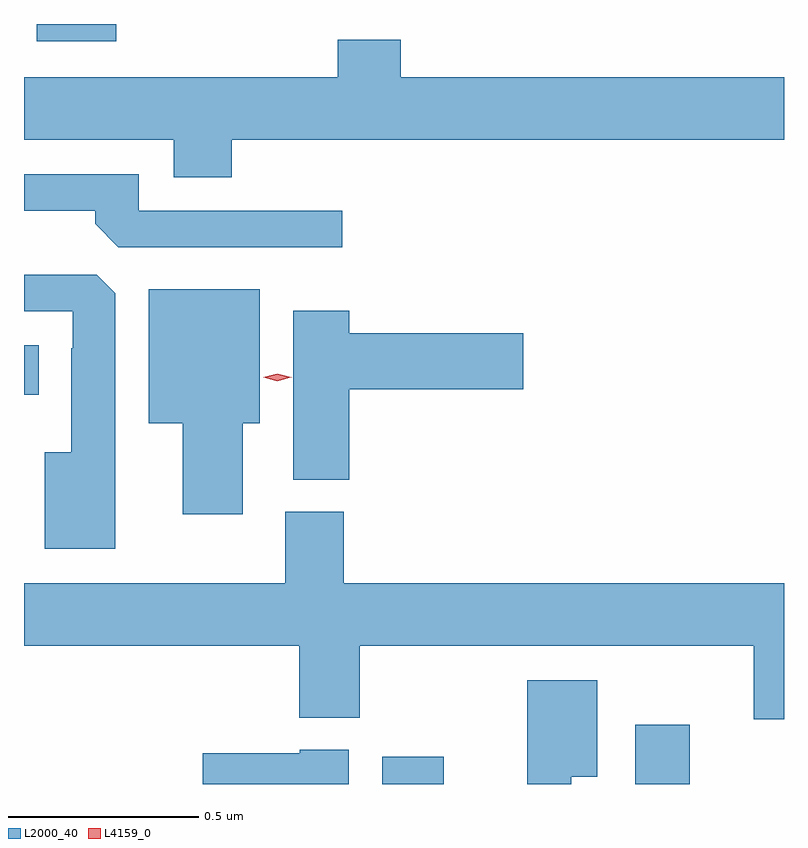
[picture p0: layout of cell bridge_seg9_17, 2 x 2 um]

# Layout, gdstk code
import gdstk
lib = gdstk.Library(unit=1e-6, precision=1e-09)
def R(c, l, rs):  # rectangles x0, y0, x1, y1
    for r in rs: c.add(gdstk.rectangle(r[:2], r[2:], *l))
def P(c, l, *ps):  # polygons
    for p in ps: c.add(gdstk.Polygon(p, *l))
L2000_40 = (2000, 40)
L4159_0 = (4159, 0)

bridge_seg9_17 = lib.new_cell('bridge_seg9_17')
R(bridge_seg9_17, L2000_40, [(929.264,1238.68,929.425,1238.752), (929.93,1238.68,930.073,1238.836), (928.321,1239.704,928.36,1239.835), (928.354,1240.635,928.564,1240.68)])
P(bridge_seg9_17, L2000_40, [(928.868,1240.376),(930.321,1240.376),(930.321,1240.54),(929.312,1240.54),(929.312,1240.639),(929.147,1240.639),(929.147,1240.54),(928.321,1240.54),(928.321,1240.376),(928.715,1240.376),(928.715,1240.277),(928.868,1240.277)],
  [(929.158,1240.188),(928.623,1240.188),(928.623,1240.284),(928.321,1240.284),(928.321,1240.188),(928.508,1240.188),(928.508,1240.154),(928.569,1240.092),(929.158,1240.092)],
  [(928.561,1239.971),(928.512,1240.02),(928.321,1240.02),(928.321,1239.924),(928.449,1239.924),(928.449,1239.827),(928.445,1239.827),(928.445,1239.553),(928.376,1239.553),(928.376,1239.299),(928.561,1239.299)],
  [(928.897,1239.629),(928.942,1239.629),(928.942,1239.982),(928.649,1239.982),(928.649,1239.629),(928.739,1239.629),(928.739,1239.39),(928.897,1239.39)],
  [(929.177,1239.719),(929.635,1239.719),(929.635,1239.866),(929.177,1239.866),(929.177,1239.925),(929.03,1239.925),(929.03,1239.481),(929.177,1239.481)],
  [(930.321,1239.208),(929.162,1239.208),(929.162,1239.396),(929.009,1239.396),(929.009,1239.208),(928.321,1239.208),(928.321,1239.044),(929.045,1239.044),(929.045,1238.855),(929.205,1238.855),(929.205,1239.044),(930.242,1239.044),(930.242,1238.85),(930.321,1238.85)],
  [(929.761,1238.699),(929.83,1238.699),(929.83,1238.953),(929.645,1238.953),(929.645,1238.68),(929.761,1238.68)],
  [(929.176,1238.77),(929.046,1238.77),(929.046,1238.761),(928.791,1238.761),(928.791,1238.68),(929.176,1238.68)])
P(bridge_seg9_17, L4159_0, [(928.987,1239.74),(928.95,1239.75),(928.949,1239.75),(928.95,1239.751),(928.987,1239.76),(929.024,1239.751),(929.025,1239.75),(929.024,1239.75)])

lib.write_gds('bridge_seg9_17.gds')
